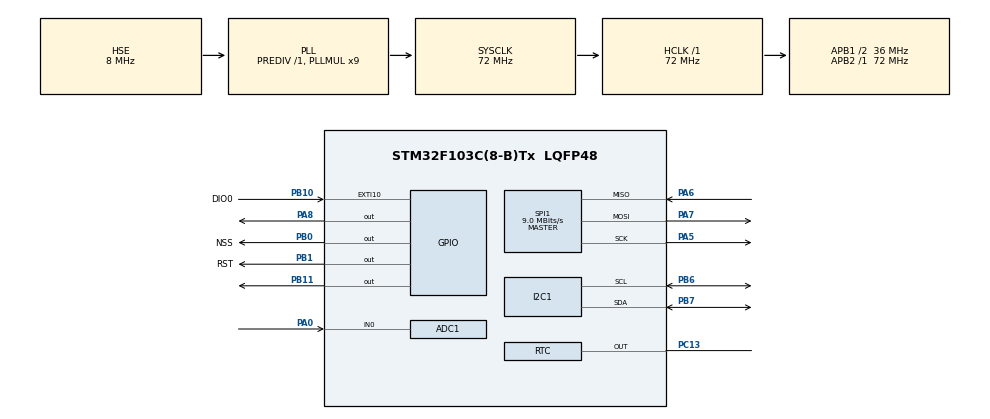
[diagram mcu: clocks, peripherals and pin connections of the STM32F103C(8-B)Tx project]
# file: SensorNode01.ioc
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ADC1.Channel-1\#ChannelRegularConversion=ADC_CHANNEL_0
ADC1.NbrOfConversionFlag=1
ADC1.Rank-1\#ChannelRegularConversion=1
ADC1.SamplingTime-1\#ChannelRegularConversion=ADC_SAMPLETIME_1CYCLE_5
ADC1.master=1
Dma.ADC1.0.Direction=DMA_PERIPH_TO_MEMORY
Dma.ADC1.0.Instance=DMA1_Channel1
Dma.ADC1.0.MemDataAlignment=DMA_MDATAALIGN_HALFWORD
Dma.ADC1.0.MemInc=DMA_MINC_ENABLE
Dma.ADC1.0.Mode=DMA_CIRCULAR
Dma.ADC1.0.PeriphDataAlignment=DMA_PDATAALIGN_HALFWORD
Dma.ADC1.0.PeriphInc=DMA_PINC_DISABLE
Dma.ADC1.0.Priority=DMA_PRIORITY_LOW
Dma.Request0=ADC1
I2C1.I2C_Mode=I2C_Standard
Mcu.Family=STM32F1
Mcu.Name=STM32F103C(8-B)Tx
Mcu.Package=LQFP48
NVIC.DMA1_Channel1_IRQn=true\:0\:0\:false\:false\:true\:false\:true\:true
NVIC.EXTI15_10_IRQn=true\:1\:0\:true\:false\:true\:true\:true\:true
NVIC.PriorityGroup=NVIC_PRIORITYGROUP_4
NVIC.RTC_Alarm_IRQn=true\:0\:0\:false\:false\:true\:true\:true\:true
PA0-WKUP.Signal=ADCx_IN0
PA13.Mode=Serial_Wire
PA13.Signal=SYS_JTMS-SWDIO
PA14.Mode=Serial_Wire
PA14.Signal=SYS_JTCK-SWCLK
PA5.Mode=Full_Duplex_Master
PA5.Signal=SPI1_SCK
PA6.Mode=Full_Duplex_Master
PA6.Signal=SPI1_MISO
PA7.Mode=Full_Duplex_Master
PA7.Signal=SPI1_MOSI
PA8.GPIO_PuPd=GPIO_PULLDOWN
PA8.Signal=GPIO_Output
PB0.GPIO_Label=NSS
PB0.PinState=GPIO_PIN_SET
PB0.Signal=GPIO_Output
PB1.GPIO_Label=RST
PB1.PinState=GPIO_PIN_SET
PB1.Signal=GPIO_Output
PB10.GPIO_Label=DIO0
PB10.Signal=GPXTI10
PB11.Signal=GPIO_Output
PB6.Mode=I2C
PB6.Signal=I2C1_SCL
PB7.Mode=I2C
PB7.Signal=I2C1_SDA
PC13-TAMPER-RTC.Mode=RTC OUT
PC13-TAMPER-RTC.Signal=RTC_OUT
PC14-OSC32_IN.Mode=LSE-External-Oscillator
PC14-OSC32_IN.Signal=RCC_OSC32_IN
PC15-OSC32_OUT.Mode=LSE-External-Oscillator
PC15-OSC32_OUT.Signal=RCC_OSC32_OUT
PD0-OSC_IN.Mode=HSE-External-Oscillator
PD0-OSC_IN.Signal=RCC_OSC_IN
PD1-OSC_OUT.Mode=HSE-External-Oscillator
PD1-OSC_OUT.Signal=RCC_OSC_OUT
ProjectManager.HeapSize=0x200
ProjectManager.StackSize=0x400
ProjectManager.TargetToolchain=STM32CubeIDE
RCC.ADCPresc=RCC_ADCPCLK2_DIV6
RCC.AHBFreq_Value=72000000
RCC.APB1CLKDivider=RCC_HCLK_DIV2
RCC.APB1Freq_Value=36000000
RCC.APB1TimFreq_Value=72000000
RCC.APB2Freq_Value=72000000
RCC.APB2TimFreq_Value=72000000
RCC.HCLKFreq_Value=72000000
RCC.PLLMUL=RCC_PLL_MUL9
RCC.PLLSourceVirtual=RCC_PLLSOURCE_HSE
RCC.SYSCLKFreq_VALUE=72000000
RCC.SYSCLKSource=RCC_SYSCLKSOURCE_PLLCLK
RCC.USBFreq_Value=72000000
RTC.OutPut=RTC_OUTPUTSOURCE_ALARM
RTC.Seconds_A-RTC\ OUT=10
SH.ADCx_IN0.0=ADC1_IN0,IN0
SPI1.BaudRatePrescaler=SPI_BAUDRATEPRESCALER_8
SPI1.CalculateBaudRate=9.0 MBits/s
SPI1.Direction=SPI_DIRECTION_2LINES
SPI1.Mode=SPI_MODE_MASTER
SPI1.VirtualType=VM_MASTER
TIM1.Prescaler=71
VP_RTC_VS_RTC_Activate.Mode=RTC_Enabled
VP_TIM1_VS_ClockSourceINT.Mode=Internal
board=custom

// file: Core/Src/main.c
/* USER CODE BEGIN Header */
/**
  ******************************************************************************
  * @file           : main.c
  * @brief          : Main program body
  ******************************************************************************
  * @attention
  *
  * Copyright (c) 2025 STMicroelectronics.
  * All rights reserved.
  *
  * This software is licensed under terms that can be found in the LICENSE file
  * in the root directory of this software component.
  * If no LICENSE file comes with this software, it is provided AS-IS.
  *
  ******************************************************************************
  */
/* USER CODE END Header */
#include "main.h"

/* USER CODE BEGIN Includes */
#include "Lora.h"
#include "DHT11.h"
#include "BH1750.h"
/* USER CODE END Includes */

/* USER CODE BEGIN PM */
LoRa myLoRa;
uint16_t LoRa_Status;
// ACK indicate that sensor node have gone into start mode
uint8_t Alarm_Set = 0x01;
// ACK packet received from Gateway
uint8_t RxBuffer[4];
// Struct save sensors's data
typedef struct Sensor_Data {
	float Temperature;
	float Humidity;
	float LUX;
	uint16_t Data_MQ135;
} Data;
Data Sensor_data;
// Data packets transfer to Gateway
uint8_t packet[9];

/* USER CODE END PM */

ADC_HandleTypeDef hadc1;
DMA_HandleTypeDef hdma_adc1;

I2C_HandleTypeDef hi2c1;

RTC_HandleTypeDef hrtc;

SPI_HandleTypeDef hspi1;

TIM_HandleTypeDef htim1;

void SystemClock_Config(void);
static void MX_GPIO_Init(void);
static void MX_DMA_Init(void);
static void MX_RTC_Init(void);
static void MX_SPI1_Init(void);
static void MX_I2C1_Init(void);
static void MX_ADC1_Init(void);
static void MX_TIM1_Init(void);
/* USER CODE BEGIN PFP */
void Data_Sending(const Data *_Data);
/* USER CODE END PFP */

int main(void)
{

  /* MCU Configuration--------------------------------------------------------*/

  /* Reset of all peripherals, Initializes the Flash interface and the Systick. */
  HAL_Init();

  /* Configure the system clock */
  SystemClock_Config();

  /* Initialize all configured peripherals */
  MX_GPIO_Init();
  MX_DMA_Init();
  MX_RTC_Init();
  MX_SPI1_Init();
  MX_I2C1_Init();
  MX_ADC1_Init();
  MX_TIM1_Init();
  /* USER CODE BEGIN 2 */
  BH1750_Init();
  HAL_TIM_Base_Start(&htim1);

//LORA STATUS CONFIG
  myLoRa = newLoRa();

  myLoRa.CS_port         = NSS_GPIO_Port;
  myLoRa.CS_pin          = NSS_Pin;
  myLoRa.reset_port      = RST_GPIO_Port;
  myLoRa.reset_pin       = RST_Pin;
  myLoRa.DIO0_port       = DIO0_GPIO_Port;
  myLoRa.DIO0_pin        = DIO0_Pin;
  myLoRa.hSPIx           = &hspi1;

  myLoRa.frequency             = 440;             // default = 433 MHz
  myLoRa.spredingFactor        = SF_7;            // default = SF_7
  myLoRa.bandWidth             = BW_31_25KHz;       // default = BW_125KHz
  myLoRa.crcRate               = CR_4_5;          // default = CR_4_5
  myLoRa.power                 = POWER_20db;      // default = 20db
  myLoRa.overCurrentProtection = 130;             // default = 100 mA
  myLoRa.preamble              = 9;              // default = 8;
  if (LoRa_init(&myLoRa) == LORA_OK){
	  LoRa_Status = 1;
  }

//STABLE THE POWER AND MCU TO MAKE FLASHING JOB EASIER
//  HAL_Delay(2000);
  /* USER CODE END 2 */

  /* Infinite loop */
  while (1)
  {

    /* USER CODE BEGIN 3 */
////TURN OFF THE INTERRUPT FROM SX1278 LORA MODULE TO AVOILD UNWANTED WAKEUP STM32F1 BY SEND MODULE TO SLEEPMODE
	LoRa_gotoMode(&myLoRa, SLEEP_MODE);
////ENTER SLEEPMODE AND NOW THE SYSTEM WAIT FOR INTERRUPT FROM RTC TO WAKEUP
	HAL_SuspendTick();
//	HAL_PWR_EnterSLEEPMode(PWR_MAINREGULATOR_ON, PWR_SLEEPENTRY_WFI);
	HAL_PWR_EnterSTOPMode(PWR_LOWPOWERREGULATOR_ON, PWR_STOPENTRY_WFI);
////RESUME TICK AFTER WAKING UP AND TURNON THE POWER MOSFET FOR READING DATA PROCESS
	SystemClock_Config();
	HAL_ResumeTick();

	HAL_GPIO_WritePin(GPIOA, GPIO_PIN_8, GPIO_PIN_SET);
	HAL_Delay(500); //Delay couple ms to stable the sensors's power
	LoRa_gotoMode(&myLoRa, STNBY_MODE);
	LoRa_startReceiving(&myLoRa);
//READ MQ135 AND STORE INTO DATA STRUCT
	HAL_ADC_Start_DMA(&hadc1, (uint32_t*)&Sensor_data.Data_MQ135, 1);
	HAL_Delay(10);
	HAL_ADC_Stop_DMA(&hadc1);
//	HAL_Delay(210);

//READ DHT11 AND STORE INTO DATA STRUCT
	DHT11_Start();
	if (DHT11_Check_Response())
		{
			  Sensor_data.Humidity = Check_RH();
			  Sensor_data.Temperature = Check_Temp();
		}

//READ BH1750 AND STORE INTO DATA STRUCT
	MX_I2C1_Init();
	BH1750_Init();
	BH1750_Start();
	Sensor_data.LUX = BH1750_Read();

//SEND LORA DATA
	Data_Sending(&Sensor_data);

//HANDLE START NETWORK CASE IF GATEWAY REQUIRE
		if (RxBuffer[0] == 0xFF)
		{
			while (RxBuffer[0] != 0xC0) //0xEE
			{
				//Wait for 0xC0 indicate ACK
				//If received ACK --> break while and send back ACK to gateway to indicate that sensor node is ready to start network
			}
			  LoRa_transmit(&myLoRa, &Alarm_Set, sizeof(Alarm_Set), 500);
			  //After sending ACK --> sensor node wait for gateway to received all ACK from all other sensor nodes. After that, Gateway send start signal 0xB0 to start network
			  LoRa_startReceiving(&myLoRa);
//			  HAL_Delay(500);
			  while (RxBuffer[0] != 0xB0) //0xDD
			  {
				 //wait for start signal 0xB0
			  }
			  //Finally, after received start signal from Gateway --> Reset wake up alarm to synchronize time slot between nodes
			  MX_RTC_Init();
		}

//AFTER SENDING SENSOR DATA, TURN OFF THE POWER MOSFET AND GO TO SLEEP AGAIN, WAITING FOR A NEW RTC WAKE UP...
	HAL_GPIO_WritePin(GPIOA, GPIO_PIN_8, GPIO_PIN_RESET);
  }
  /* USER CODE END 3 */
}

void SystemClock_Config(void)
{
  RCC_OscInitTypeDef RCC_OscInitStruct = {0};
  RCC_ClkInitTypeDef RCC_ClkInitStruct = {0};
  RCC_PeriphCLKInitTypeDef PeriphClkInit = {0};

  /** Initializes the RCC Oscillators according to the specified parameters
  * in the RCC_OscInitTypeDef structure.
  */
  RCC_OscInitStruct.OscillatorType = RCC_OSCILLATORTYPE_LSI|RCC_OSCILLATORTYPE_HSE;
  RCC_OscInitStruct.HSEState = RCC_HSE_ON;
  RCC_OscInitStruct.HSEPredivValue = RCC_HSE_PREDIV_DIV1;
  RCC_OscInitStruct.HSIState = RCC_HSI_ON;
  RCC_OscInitStruct.LSIState = RCC_LSI_ON;
  RCC_OscInitStruct.PLL.PLLState = RCC_PLL_ON;
  RCC_OscInitStruct.PLL.PLLSource = RCC_PLLSOURCE_HSE;
  RCC_OscInitStruct.PLL.PLLMUL = RCC_PLL_MUL9;
  if (HAL_RCC_OscConfig(&RCC_OscInitStruct) != HAL_OK)
  {
    Error_Handler();
  }

  /** Initializes the CPU, AHB and APB buses clocks
  */
  RCC_ClkInitStruct.ClockType = RCC_CLOCKTYPE_HCLK|RCC_CLOCKTYPE_SYSCLK
                              |RCC_CLOCKTYPE_PCLK1|RCC_CLOCKTYPE_PCLK2;
  RCC_ClkInitStruct.SYSCLKSource = RCC_SYSCLKSOURCE_PLLCLK;
  RCC_ClkInitStruct.AHBCLKDivider = RCC_SYSCLK_DIV1;
  RCC_ClkInitStruct.APB1CLKDivider = RCC_HCLK_DIV2;
  RCC_ClkInitStruct.APB2CLKDivider = RCC_HCLK_DIV1;

  if (HAL_RCC_ClockConfig(&RCC_ClkInitStruct, FLASH_LATENCY_2) != HAL_OK)
  {
    Error_Handler();
  }
  PeriphClkInit.PeriphClockSelection = RCC_PERIPHCLK_RTC|RCC_PERIPHCLK_ADC;
  PeriphClkInit.RTCClockSelection = RCC_RTCCLKSOURCE_LSI;
  PeriphClkInit.AdcClockSelection = RCC_ADCPCLK2_DIV6;
  if (HAL_RCCEx_PeriphCLKConfig(&PeriphClkInit) != HAL_OK)
  {
    Error_Handler();
  }
}

static void MX_ADC1_Init(void)
{

  ADC_ChannelConfTypeDef sConfig = {0};

  /** Common config
  */
  hadc1.Instance = ADC1;
  hadc1.Init.ScanConvMode = ADC_SCAN_DISABLE;
  hadc1.Init.ContinuousConvMode = DISABLE;
  hadc1.Init.DiscontinuousConvMode = DISABLE;
  hadc1.Init.ExternalTrigConv = ADC_SOFTWARE_START;
  hadc1.Init.DataAlign = ADC_DATAALIGN_RIGHT;
  hadc1.Init.NbrOfConversion = 1;
  if (HAL_ADC_Init(&hadc1) != HAL_OK)
  {
    Error_Handler();
  }

  /** Configure Regular Channel
  */
  sConfig.Channel = ADC_CHANNEL_0;
  sConfig.Rank = ADC_REGULAR_RANK_1;
  sConfig.SamplingTime = ADC_SAMPLETIME_1CYCLE_5;
  if (HAL_ADC_ConfigChannel(&hadc1, &sConfig) != HAL_OK)
  {
    Error_Handler();
  }

}

static void MX_I2C1_Init(void)
{

  hi2c1.Instance = I2C1;
  hi2c1.Init.ClockSpeed = 100000;
  hi2c1.Init.DutyCycle = I2C_DUTYCYCLE_2;
  hi2c1.Init.OwnAddress1 = 0;
  hi2c1.Init.AddressingMode = I2C_ADDRESSINGMODE_7BIT;
  hi2c1.Init.DualAddressMode = I2C_DUALADDRESS_DISABLE;
  hi2c1.Init.OwnAddress2 = 0;
  hi2c1.Init.GeneralCallMode = I2C_GENERALCALL_DISABLE;
  hi2c1.Init.NoStretchMode = I2C_NOSTRETCH_DISABLE;
  if (HAL_I2C_Init(&hi2c1) != HAL_OK)
  {
    Error_Handler();
  }

}

static void MX_RTC_Init(void)
{

  /* USER CODE BEGIN RTC_Init 0 */
//
  /* USER CODE END RTC_Init 0 */

  RTC_TimeTypeDef sTime = {0};
  RTC_DateTypeDef DateToUpdate = {0};
  RTC_AlarmTypeDef sAlarm = {0};

  /* USER CODE BEGIN RTC_Init 1 */
//
  /* USER CODE END RTC_Init 1 */

  /** Initialize RTC Only
  */
  hrtc.Instance = RTC;
  hrtc.Init.AsynchPrediv = RTC_AUTO_1_SECOND;
  hrtc.Init.OutPut = RTC_OUTPUTSOURCE_ALARM;
  if (HAL_RTC_Init(&hrtc) != HAL_OK)
  {
    Error_Handler();
  }

  /* USER CODE BEGIN Check_RTC_BKUP */
//
  /* USER CODE END Check_RTC_BKUP */

  /** Initialize RTC and set the Time and Date
  */
  sTime.Hours = 0x0;
  sTime.Minutes = 0x0;
  sTime.Seconds = 0x0;

  if (HAL_RTC_SetTime(&hrtc, &sTime, RTC_FORMAT_BCD) != HAL_OK)
  {
    Error_Handler();
  }
  DateToUpdate.WeekDay = RTC_WEEKDAY_MONDAY;
  DateToUpdate.Month = RTC_MONTH_JANUARY;
  DateToUpdate.Date = 0x1;
  DateToUpdate.Year = 0x0;

  if (HAL_RTC_SetDate(&hrtc, &DateToUpdate, RTC_FORMAT_BCD) != HAL_OK)
  {
    Error_Handler();
  }

  /** Enable the Alarm A
  */
  sAlarm.AlarmTime.Hours = 0x0;
  sAlarm.AlarmTime.Minutes = 0x0;
  sAlarm.AlarmTime.Seconds = 0x10;
  sAlarm.Alarm = RTC_ALARM_A;
  if (HAL_RTC_SetAlarm_IT(&hrtc, &sAlarm, RTC_FORMAT_BCD) != HAL_OK)
  {
    Error_Handler();
  }

}

static void MX_SPI1_Init(void)
{

  /* SPI1 parameter configuration*/
  hspi1.Instance = SPI1;
  hspi1.Init.Mode = SPI_MODE_MASTER;
  hspi1.Init.Direction = SPI_DIRECTION_2LINES;
  hspi1.Init.DataSize = SPI_DATASIZE_8BIT;
  hspi1.Init.CLKPolarity = SPI_POLARITY_LOW;
  hspi1.Init.CLKPhase = SPI_PHASE_1EDGE;
  hspi1.Init.NSS = SPI_NSS_SOFT;
  hspi1.Init.BaudRatePrescaler = SPI_BAUDRATEPRESCALER_8;
  hspi1.Init.FirstBit = SPI_FIRSTBIT_MSB;
  hspi1.Init.TIMode = SPI_TIMODE_DISABLE;
  hspi1.Init.CRCCalculation = SPI_CRCCALCULATION_DISABLE;
  hspi1.Init.CRCPolynomial = 10;
  if (HAL_SPI_Init(&hspi1) != HAL_OK)
  {
    Error_Handler();
  }

}

static void MX_TIM1_Init(void)
{

  TIM_ClockConfigTypeDef sClockSourceConfig = {0};
  TIM_MasterConfigTypeDef sMasterConfig = {0};

  htim1.Instance = TIM1;
  htim1.Init.Prescaler = 71;
  htim1.Init.CounterMode = TIM_COUNTERMODE_UP;
  htim1.Init.Period = 65535;
  htim1.Init.ClockDivision = TIM_CLOCKDIVISION_DIV1;
  htim1.Init.RepetitionCounter = 0;
  htim1.Init.AutoReloadPreload = TIM_AUTORELOAD_PRELOAD_DISABLE;
  if (HAL_TIM_Base_Init(&htim1) != HAL_OK)
  {
    Error_Handler();
  }
  sClockSourceConfig.ClockSource = TIM_CLOCKSOURCE_INTERNAL;
  if (HAL_TIM_ConfigClockSource(&htim1, &sClockSourceConfig) != HAL_OK)
  {
    Error_Handler();
  }
  sMasterConfig.MasterOutputTrigger = TIM_TRGO_RESET;
  sMasterConfig.MasterSlaveMode = TIM_MASTERSLAVEMODE_DISABLE;
  if (HAL_TIMEx_MasterConfigSynchronization(&htim1, &sMasterConfig) != HAL_OK)
  {
    Error_Handler();
  }

}

static void MX_DMA_Init(void)
{

  /* DMA controller clock enable */
  __HAL_RCC_DMA1_CLK_ENABLE();

  /* DMA interrupt init */
  /* DMA1_Channel1_IRQn interrupt configuration */
  HAL_NVIC_SetPriority(DMA1_Channel1_IRQn, 0, 0);
  HAL_NVIC_EnableIRQ(DMA1_Channel1_IRQn);

}

static void MX_GPIO_Init(void)
{
  GPIO_InitTypeDef GPIO_InitStruct = {0};

  /* GPIO Ports Clock Enable */
  __HAL_RCC_GPIOC_CLK_ENABLE();
  __HAL_RCC_GPIOD_CLK_ENABLE();
  __HAL_RCC_GPIOA_CLK_ENABLE();
  __HAL_RCC_GPIOB_CLK_ENABLE();

  /*Configure GPIO pin Output Level */
  HAL_GPIO_WritePin(GPIOB, NSS_Pin|RST_Pin, GPIO_PIN_SET);

  /*Configure GPIO pin Output Level */
  HAL_GPIO_WritePin(GPIOB, GPIO_PIN_11, GPIO_PIN_RESET);

  /*Configure GPIO pin Output Level */
  HAL_GPIO_WritePin(GPIOA, GPIO_PIN_8, GPIO_PIN_RESET);

  /*Configure GPIO pins : NSS_Pin RST_Pin PB11 */
  GPIO_InitStruct.Pin = NSS_Pin|RST_Pin|GPIO_PIN_11;
  GPIO_InitStruct.Mode = GPIO_MODE_OUTPUT_PP;
  GPIO_InitStruct.Pull = GPIO_NOPULL;
  GPIO_InitStruct.Speed = GPIO_SPEED_FREQ_LOW;
  HAL_GPIO_Init(GPIOB, &GPIO_InitStruct);

  /*Configure GPIO pin : DIO0_Pin */
  GPIO_InitStruct.Pin = DIO0_Pin;
  GPIO_InitStruct.Mode = GPIO_MODE_IT_RISING;
  GPIO_InitStruct.Pull = GPIO_NOPULL;
  HAL_GPIO_Init(DIO0_GPIO_Port, &GPIO_InitStruct);

  /*Configure GPIO pin : PA8 */
  GPIO_InitStruct.Pin = GPIO_PIN_8;
  GPIO_InitStruct.Mode = GPIO_MODE_OUTPUT_PP;
  GPIO_InitStruct.Pull = GPIO_PULLDOWN;
  GPIO_InitStruct.Speed = GPIO_SPEED_FREQ_LOW;
  HAL_GPIO_Init(GPIOA, &GPIO_InitStruct);

  /* EXTI interrupt init*/
  HAL_NVIC_SetPriority(EXTI15_10_IRQn, 1, 0);
  HAL_NVIC_EnableIRQ(EXTI15_10_IRQn);

}

/* USER CODE BEGIN 4 */

void HAL_RTC_AlarmAEventCallback(RTC_HandleTypeDef *hrtc)
{
//    RTC_TimeTypeDef sTime = {0};
//    RTC_AlarmTypeDef sAlarm = {0};
//
//    // Get current time
//    HAL_RTC_GetTime(hrtc, &sTime, RTC_FORMAT_BIN);
//
//    // Adding 10s to wake up sequence, because first setting of the alarm is 11s so this node will wake up at 11s 21s 31s...
//    uint32_t total_seconds = sTime.Hours * 3600 + sTime.Minutes * 60 + sTime.Seconds + 10;
//    sAlarm.AlarmTime.Hours   = (total_seconds / 3600) % 24;
//    sAlarm.AlarmTime.Minutes = (total_seconds / 60) % 60;
//    sAlarm.AlarmTime.Seconds = total_seconds % 60;
//    sAlarm.Alarm = RTC_ALARM_A;
//    // Re-set alarm with updated wakeup time
//    HAL_RTC_SetAlarm_IT(hrtc, &sAlarm, RTC_FORMAT_BIN);
	MX_RTC_Init();
}

//THIS WAKE UP TRIGGERED BY GPIO DIO0, HAPPENS WHEN A DATA RECEIVED BY SX1278 MODULE
void HAL_GPIO_EXTI_Callback(uint16_t GPIO_Pin)
{
    if (GPIO_Pin == DIO0_Pin)
    {
      //Stack the received data into RxBuffer[4]
  	  LoRa_receive(&myLoRa, RxBuffer, sizeof(RxBuffer));
    }
}

//THIS FUNCTION WILL TAKE THE DATA THAT STORED IN DATA STRUCT AND "RIPPED" IT INTO 1 BYTE FORMAT FOR SX1278 TO SEND BYTE BY BYTE TO GATEWAY
void Data_Sending(const Data *_Data)
{
//	  uint8_t retry;
	  uint16_t humidity_int    = (uint16_t)(_Data->Humidity * 10);
	  uint16_t temperature_int = (uint16_t)(_Data->Temperature * 10);
	  uint16_t lux_int         = (uint16_t)(_Data->LUX * 10);
	  uint16_t mq135_int       = (uint16_t)(_Data->Data_MQ135);

	  packet[0] = 0xA1;  // NODE'S ID
	  packet[1] = (uint8_t)(humidity_int >> 8);
	  packet[2] = (uint8_t)(humidity_int & 0xFF);
	  packet[3] = (uint8_t)(temperature_int >> 8);
	  packet[4] = (uint8_t)(temperature_int & 0xFF);
	  packet[5] = (uint8_t)(lux_int >> 8);
	  packet[6] = (uint8_t)(lux_int & 0xFF);
	  packet[7] = (uint8_t)(mq135_int >> 8);
	  packet[8] = (uint8_t)(mq135_int & 0xFF);
	  LoRa_transmit(&myLoRa, (uint8_t*)packet, sizeof(packet), 500);
//	  LoRa_startReceiving(&myLoRa);
//	  HAL_Delay(500); //500 or 1000??
//
//	  while (RxBuffer[1] != 0x01 && retry < 2 && RxBuffer[0] != 0xFF) //Gửi lại data nếu không có phản hồi ACK
//	  {
//	      LoRa_transmit(&myLoRa, (uint8_t*)packet, sizeof(packet), 500);
//	      LoRa_startReceiving(&myLoRa);
//	      HAL_Delay(500);
//	      retry++;
//	  }
//	  retry = 0;
}
/* USER CODE END 4 */

void Error_Handler(void)
{
  __disable_irq();
  while (1)
  {
  }
}
